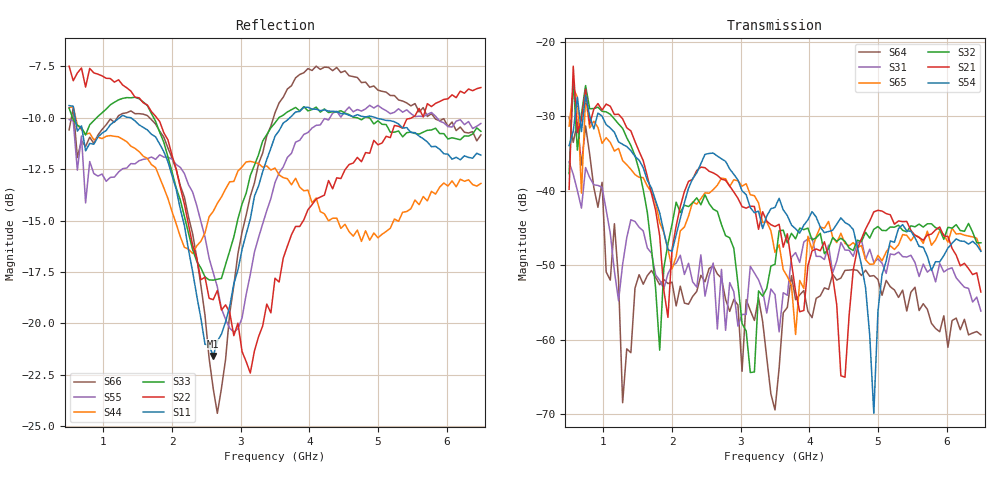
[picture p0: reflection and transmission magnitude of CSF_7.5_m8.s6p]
!Keysight Technologies,M9804A,MY58100912,A.14.10.03
!Date: Thursday, April 27, 2023 10:28:33
!Correction: S11(C  6-Port  )
!S12(C  6-Port  )
!S13(C  6-Port  )
!S14(C  6-Port  )
!S15(C  6-Port  )
!S16(C  6-Port  )
!S21(C  6-Port  )
!S22(C  6-Port  )
!S23(C  6-Port  )
!S24(C  6-Port  )
!S25(C  6-Port  )
!S26(C  6-Port  )
!S31(C  6-Port  )
!S32(C  6-Port  )
!S33(C  6-Port  )
!S34(C  6-Port  )
!S35(C  6-Port  )
!S36(C  6-Port  )
!S41(C  6-Port  )
!S42(C  6-Port  )
!S43(C  6-Port  )
!S44(C  6-Port  )
!S45(C  6-Port  )
!S46(C  6-Port  )
!S51(C  6-Port  )
!S52(C  6-Port  )
!S53(C  6-Port  )
!S54(C  6-Port  )
!S55(C  6-Port  )
!S56(C  6-Port  )
!S61(C  6-Port  )
!S62(C  6-Port  )
!S63(C  6-Port  )
!S64(C  6-Port  )
!S65(C  6-Port  )
!S66(C  6-Port  )
!S6P File: Measurement: :
# Hz S  RI  R 50
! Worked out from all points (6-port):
!   101 points, 500 MHz to 6.5 GHz, reference 50 ohm
!   strongest paths, dB at 500 MHz, 2 GHz, 3.5 GHz, 5 GHz, 6.5 GHz:
!     S54: -34.0, -48.1, -42.2, -56.2, -48.1
!     S21: -39.8, -47.8, -44.8, -42.6, -53.6
!     S32: -37.7, -44.5, -49.9, -44.8, -47.0
!     S65: -31.3, -50.5, -48.3, -48.7, -48.1
!     S31: -36.2, -50.1, -53.9, -49.1, -56.2
!     S64: -30.1, -52.3, -69.4, -51.9, -59.4
!   lowest |S11| = -21.6 dB at 2.6 GHz (marker M1), VSWR 1.18, Z = 42.6 + j2.07 ohm
!   |S11| at or under -10 dB: 587.8 MHz to 1.234 GHz (646.6 MHz wide, 71 % of centre); 1.401 GHz to 3.715 GHz (2.314 GHz wide, 90.4 % of centre); 4.971 GHz to end of sweep
